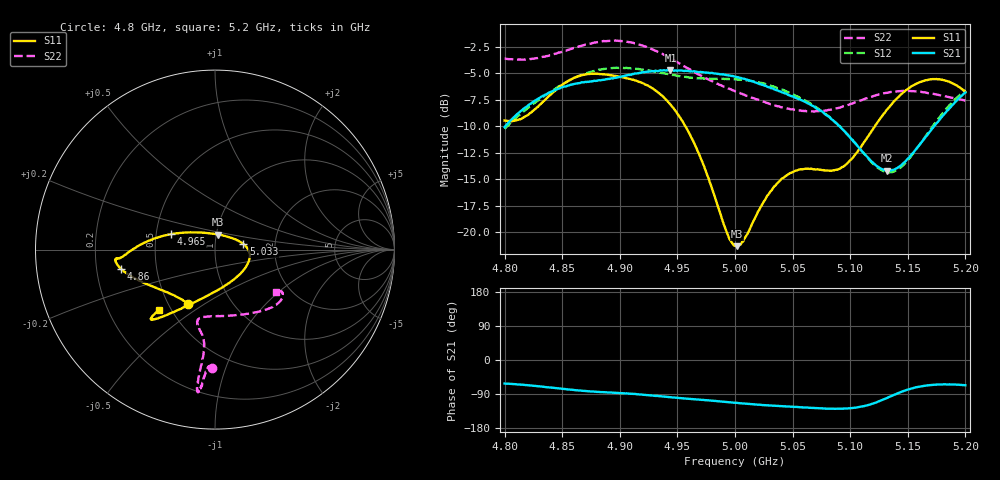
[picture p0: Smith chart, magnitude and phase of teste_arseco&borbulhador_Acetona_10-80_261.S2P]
! Network Analyzer HP8722D
! Hewlett-Packard
! Data name: Linha & Wilkinson
! Saver's name: Rodrigo Anjos
! Comments: Teste da utilização de aquisição
! continua pelo VNA HP8722D
! Time and date: 17/4/2025 16:32
!  Frequency  S11  S21  S12  S22
# HZ  S  MA R 50
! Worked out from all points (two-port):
!   401 points, 4.8 GHz to 5.2 GHz, reference 50 ohm
!   highest |S21| = -4.74 dB at 4.944 GHz (marker M1); lowest = -14.2 dB at 5.132 GHz (marker M2)
!   |S21| within 3 dB of the highest: 4.825 GHz to 5.061 GHz (236.7 MHz wide, 4.79 % of centre); 5.191155 GHz to end of sweep
!   lowest |S11| = -21.3 dB at 5.002 GHz (marker M3), VSWR 1.19, Z = 51.1 + j8.64 ohm
!   |S11| at or under -10 dB: 4.957 GHz to 5.122 GHz (164.7 MHz wide, 3.27 % of centre)
!   |S22| runs from -8.6 to -1.9 dB; largest |S21 - S12| = 0.87
!   S11 on the Smith chart (normalised r, x): 4.8 GHz: 0.63, -0.43; 4.86 GHz: 0.31, -0.09; 4.965 GHz: 0.60, +0.11; 5.033 GHz: 1.37, +0.09; 5.2 GHz: 0.43, -0.36
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4.8e9  0.336 -116.5  0.3127 -62.0  0.3072 -176.3  0.6582 -91.4
4.819e9  0.3538 -136.8  0.3898 -66.3  0.3792 -175.9  0.6533 -92.9
4.86e9  0.5331 -168.2  0.499 -78.9  0.5299 -179.2  0.7382 -95.2
4.867e9  0.549 -170.9  0.509 -81.2  0.5505 179.5  0.7563 -95.4
4.898e9  0.5427 -174.9  0.5358 -86.9  0.5953 173.6  0.7986 -96.9
4.934e9  0.4522 179.3  0.5755 -95.6  0.5668 170.1  0.703 -97.2
4.944e9  0.3995 174.7  0.5796 -98.2  0.5521 170.4  0.6597 -96.9
4.965e9  0.2595 160.7  0.5733 -103.6  0.5325 172.2  0.5673 -96.3
4.993e9  0.09928 112.5  0.5491 -110.8  0.5263 174.4  0.4784 -98.6
5e9  0.08617 86.3  0.5403 -112.9  0.5255 174.4  0.4614 -100.1
5.002e9  0.08586 78.0  0.5372 -113.3  0.5237 174.4  0.4583 -100.5
5.033e9  0.1616 11.4  0.4746 -120.7  0.4866 173.1  0.3984 -103.4
5.049e9  0.1907 -3.9  0.4373 -123.2  0.4496 172.5  0.3789 -98.8
5.067e9  0.1985 -23.3  0.3945 -126.3  0.399 172.3  0.3707 -88.7
5.096e9  0.2078 -73.7  0.295 -128.1  0.2955 174.7  0.3943 -66.1
5.119e9  0.3018 -109.0  0.2143 -115.7  0.212 -170.9  0.4358 -50.6
5.132e9  0.3782 -119.7  0.1948 -100.2  0.1918 -153.5  0.4533 -44.1
5.134e9  0.3895 -121.0  0.1951 -97.5  0.1913 -150.5  0.4564 -43.3
5.146e9  0.4548 -126.6  0.2109 -82.3  0.2064 -132.8  0.4631 -38.7
5.167e9  0.5207 -131.7  0.2867 -67.0  0.291 -113.6  0.4531 -33.4
5.184e9  0.5155 -133.1  0.3731 -64.2  0.3844 -108.7  0.435 -32.2
5.2e9  0.4583 -133.1  0.455 -66.6  0.4682 -108.6  0.417 -34.9
